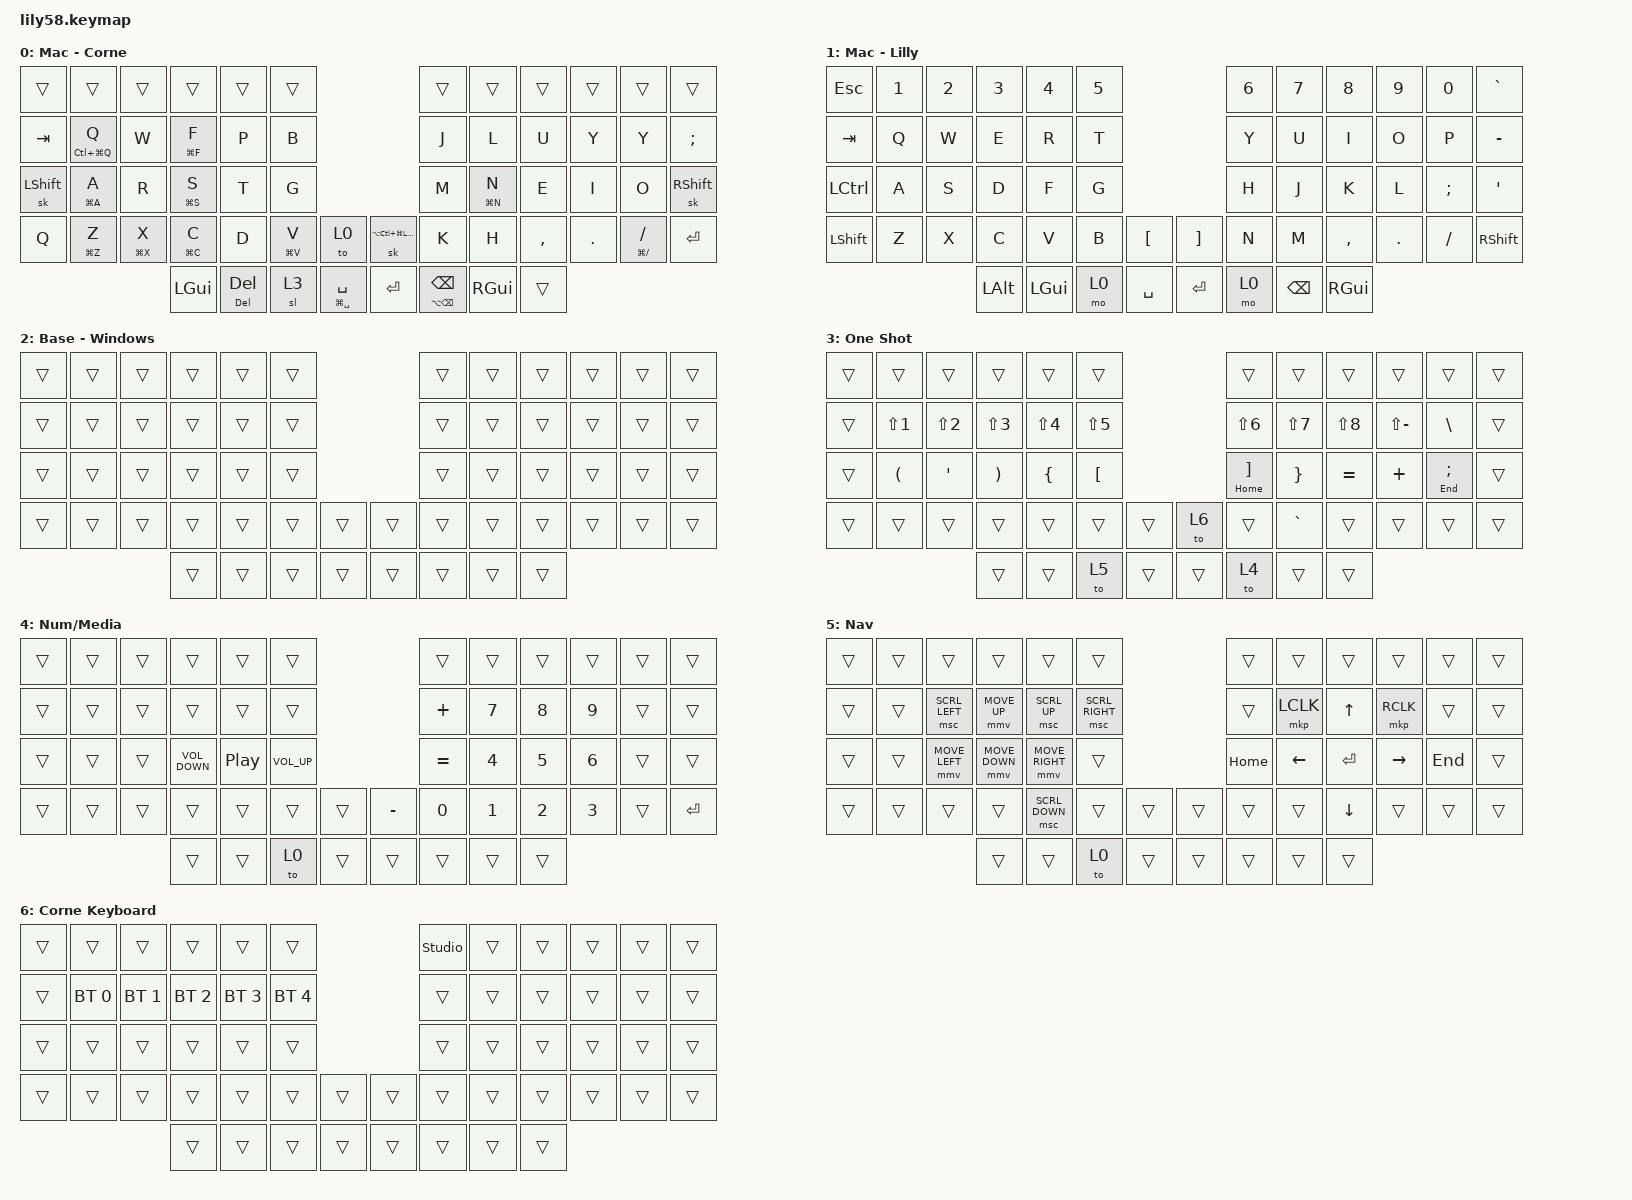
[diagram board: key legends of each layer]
/*
 * Copyright (c) 2020 The ZMK Contributors
 *
 * SPDX-License-Identifier: MIT
 */

#include <behaviors.dtsi>
#include <dt-bindings/zmk/bt.h>
#include <dt-bindings/zmk/keys.h>
#include <dt-bindings/zmk/pointing.h>
#include <dt-bindings/zmk/pointing.h>
#include <dt-bindings/zmk/pointing.h>

#define default_layer 0
#define lower_layer 1
#define raise_layer 2
#define adjust_layer 3

&mt {
    flavor = "tap-preferred";
    tapping-term-ms = <400>;
};

/ {
    combos {
        compatible = "zmk,combos";

        open_paren {
            bindings = <&kp LEFT_PARENTHESIS>;
            key-positions = <16 28>;
            layers = <0>;
        };

        close_paren {
            bindings = <&kp RIGHT_PARENTHESIS>;
            key-positions = <19 31>;
        };

        left_brace {
            bindings = <&kp LEFT_BRACE>;
            key-positions = <15 27>;
        };

        right_brace {
            bindings = <&kp RIGHT_BRACE>;
            key-positions = <20 32>;
        };

        left_bracket {
            bindings = <&kp LEFT_BRACKET>;
            key-positions = <14 26>;
        };

        right_bracket {
            bindings = <&kp RIGHT_BRACKET>;
            key-positions = <21 33>;
        };

        function_param {
            bindings = <&function_param>;
            key-positions = <25 26 27 28>;
        };
    };

    macros {
        function_param: function_param {
            compatible = "zmk,behavior-macro";
            #binding-cells = <0>;
            bindings = <&kp LEFT_PARENTHESIS &kp SQT &kp SQT &kp RIGHT_PARENTHESIS &kp LEFT &kp LEFT>;
            label = "FUNCTION_PARAM";
        };
    };

    keymap {
        compatible = "zmk,keymap";

        default_corne {
            bindings = <
&trans          &trans           &trans       &trans        &trans             &trans                                                          &trans                       &trans         &trans     &trans      &trans               &trans
&kp TAB         &mt LC(LG(Q)) Q  &kp W        &mt LG(F) F   &kp P              &kp B                                                           &kp J                        &kp L          &kp U      &kp Y       &kp Y                &kp SEMI
&sk LEFT_SHIFT  &mt LG(A) A      &kp R        &mt LG(S) S   &kp T              &kp G                                                           &kp M                        &mt LG(N) N    &kp E      &kp I       &kp O                &sk RSHIFT
&kp Q           &mt LG(Z) Z      &mt LG(X) X  &mt LG(C) C   &kp D              &mt LG(V) V  &to 0                  &sk LA(LC(LG(LEFT_SHIFT)))  &kp K                        &kp H          &kp COMMA  &kp PERIOD  &mt LG(SLASH) SLASH  &kp RETURN
                                              &kp LEFT_GUI  &mt DELETE DELETE  &sl 3        &mt LG(SPACE) SPACE    &kp RETURN                  &mt LA(BACKSPACE) BACKSPACE  &kp RIGHT_GUI  &trans
            >;

            label = "Mac - Corne";
        };

        default_layer_mac {
            display-name = "Mac - Lilly";

            // ------------------------------------------------------------------------------------------------------------
            // |  ESC  |  1  |  2  |  3   |  4   |  5   |                   |  6   |  7    |  8    |  9   |   0   |   `   |
            // |  TAB  |  Q  |  W  |  E   |  R   |  T   |                   |  Y   |  U    |  I    |  O   |   P   |   -   |
            // |  CTRL |  A  |  S  |  D   |  F   |  G   |                   |  H   |  J    |  K    |  L   |   ;   |   '   |
            // | SHIFT |  Z  |  X  |  C   |  V   |  B   |   "["  |  |  "]"  |  N   |  M    |  ,    |  .   |   /   | SHIFT |
            //                     | ALT  | GUI  | LOWER|  SPACE |  | ENTER | RAISE| BSPC  | GUI   |

            bindings = <
&kp ESC    &kp N1  &kp N2  &kp N3    &kp N4    &kp N5                         &kp N6  &kp N7    &kp N8     &kp N9   &kp N0    &kp GRAVE
&kp TAB    &kp Q   &kp W   &kp E     &kp R     &kp T                          &kp Y   &kp U     &kp I      &kp O    &kp P     &kp MINUS
&kp LCTRL  &kp A   &kp S   &kp D     &kp F     &kp G                          &kp H   &kp J     &kp K      &kp L    &kp SEMI  &kp SQT
&kp LSHFT  &kp Z   &kp X   &kp C     &kp V     &kp B   &kp LBKT     &kp RBKT  &kp N   &kp M     &kp COMMA  &kp DOT  &kp FSLH  &kp RSHFT
                           &kp LALT  &kp LGUI  &mo 0   &kp SPACE    &kp RET   &mo 0   &kp BSPC  &kp RGUI
            >;
        };

        default_layer_windows {
            bindings = <
&trans  &trans  &trans  &trans  &trans  &trans                    &trans  &trans  &trans  &trans  &trans  &trans
&trans  &trans  &trans  &trans  &trans  &trans                    &trans  &trans  &trans  &trans  &trans  &trans
&trans  &trans  &trans  &trans  &trans  &trans                    &trans  &trans  &trans  &trans  &trans  &trans
&trans  &trans  &trans  &trans  &trans  &trans  &trans    &trans  &trans  &trans  &trans  &trans  &trans  &trans
                        &trans  &trans  &trans  &trans    &trans  &trans  &trans  &trans
            >;

            label = "Base - Windows";
        };

        corne-one-shot {
            bindings = <
&trans  &trans                &trans          &trans                 &trans          &trans                              &trans                  &trans           &trans      &trans         &trans             &trans
&trans  &kp LS(NUMBER_1)      &kp LS(N2)      &kp LS(N3)             &kp LS(N4)      &kp LS(N5)                          &kp LS(N6)              &kp LS(N7)       &kp LS(N8)  &kp LS(MINUS)  &kp BACKSLASH      &trans
&trans  &kp LEFT_PARENTHESIS  &kp APOSTROPHE  &kp RIGHT_PARENTHESIS  &kp LEFT_BRACE  &kp LEFT_BRACKET                    &mt HOME RIGHT_BRACKET  &kp RIGHT_BRACE  &kp EQUAL   &kp PLUS       &mt END SEMICOLON  &trans
&trans  &trans                &trans          &trans                 &trans          &trans            &trans    &to 6   &trans                  &kp GRAVE        &trans      &trans         &trans             &trans
                                              &trans                 &trans          &to 5             &trans    &trans  &to 4                   &trans           &trans
            >;

            label = "One Shot";
        };

        corne_num_media {
            bindings = <
&trans  &trans  &trans  &trans             &trans            &trans                                &trans        &trans        &trans        &trans        &trans  &trans
&trans  &trans  &trans  &trans             &trans            &trans                                &kp PLUS      &kp NUMBER_7  &kp NUMBER_8  &kp NUMBER_9  &trans  &trans
&trans  &trans  &trans  &kp C_VOLUME_DOWN  &kp C_PLAY_PAUSE  &kp C_VOLUME_UP                       &kp EQUAL     &kp NUMBER_4  &kp NUMBER_5  &kp NUMBER_6  &trans  &trans
&trans  &trans  &trans  &trans             &trans            &trans           &trans    &kp MINUS  &kp NUMBER_0  &kp NUMBER_1  &kp NUMBER_2  &kp NUMBER_3  &trans  &kp ENTER
                        &trans             &trans            &to 0            &trans    &trans     &trans        &trans        &trans
            >;

            label = "Num/Media";
        };

        corne_nav {
            bindings = <
&trans  &trans  &trans          &trans          &trans           &trans                             &trans    &trans     &trans        &trans     &trans   &trans
&trans  &trans  &msc SCRL_LEFT  &mmv MOVE_UP    &msc SCRL_UP     &msc SCRL_RIGHT                    &trans    &mkp LCLK  &kp UP_ARROW  &mkp RCLK  &trans   &trans
&trans  &trans  &mmv MOVE_LEFT  &mmv MOVE_DOWN  &mmv MOVE_RIGHT  &trans                             &kp HOME  &kp LEFT   &kp ENTER     &kp RIGHT  &kp END  &trans
&trans  &trans  &trans          &trans          &msc SCRL_DOWN   &trans           &trans    &trans  &trans    &trans     &kp DOWN      &trans     &trans   &trans
                                &trans          &trans           &to 0            &trans    &trans  &trans    &trans     &trans
            >;

            label = "Nav";
        };

        corne_keyboard {
            bindings = <
&trans  &trans        &trans        &trans        &trans        &trans                          &studio_unlock  &trans  &trans  &trans  &trans  &trans
&trans  &bt BT_SEL 0  &bt BT_SEL 1  &bt BT_SEL 2  &bt BT_SEL 3  &bt BT_SEL 4                    &trans          &trans  &trans  &trans  &trans  &trans
&trans  &trans        &trans        &trans        &trans        &trans                          &trans          &trans  &trans  &trans  &trans  &trans
&trans  &trans        &trans        &trans        &trans        &trans        &trans    &trans  &trans          &trans  &trans  &trans  &trans  &trans
                                    &trans        &trans        &trans        &trans    &trans  &trans          &trans  &trans
            >;

            label = "Corne Keyboard";
        };
    };
};
